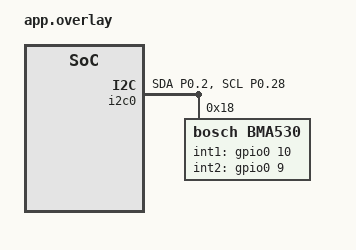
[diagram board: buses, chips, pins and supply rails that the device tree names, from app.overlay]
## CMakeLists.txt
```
cmake_minimum_required(VERSION 3.20.0)
find_package(Zephyr REQUIRED HINTS $ENV{ZEPHYR_BASE})
project(bma530_app)

add_subdirectory(drivers/sensor/bma530)
target_sources(app PRIVATE src/main.c)
```

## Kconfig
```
mainmenu "BMA530 App"

source "Kconfig.zephyr"

menu "Out-of-tree drivers"
rsource "drivers/sensor/bma530/Kconfig"
endmenu
```

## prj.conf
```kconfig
CONFIG_I2C=y
CONFIG_GPIO=y
CONFIG_SENSOR=y

CONFIG_SENSOR_BMA530=y
#CONFIG_SENSOR_BMA530_TRIGGER=y # Disable if not using interrupts

# Logging
CONFIG_LOG=y
CONFIG_LOG_DEFAULT_LEVEL=3
CONFIG_LOG_MODE_MINIMAL=n
CONFIG_LOG_MODE_IMMEDIATE=y
CONFIG_LOG_BACKEND_RTT_MODE_DROP=y
CONFIG_LOG_PRINTK=y
CONFIG_USE_SEGGER_RTT=y
CONFIG_LOG_BACKEND_RTT_MESSAGE_SIZE=256
CONFIG_SEGGER_RTT_BUFFER_SIZE_UP=4096
CONFIG_LOG_BACKEND_RTT=y
CONFIG_LOG_BACKEND_UART=n

# Increase stack if needed for logging
CONFIG_MAIN_STACK_SIZE=4096
```

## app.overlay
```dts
&pinctrl {
    i2c0_default: i2c0_default {
        group1 {
            psels = <NRF_PSEL(TWIM_SDA, 0, 2)>,   /* SDA P0.02 */
                    <NRF_PSEL(TWIM_SCL, 0, 28)>;  /* SCL P0.28 */
        };
    };
    i2c0_sleep: i2c0_sleep {
        group1 {
            psels = <NRF_PSEL(TWIM_SDA, 0, 2)>,
                    <NRF_PSEL(TWIM_SCL, 0, 28)>;
            low-power-enable;
        };
    };
};

&i2c0 {
    status = "okay";
    pinctrl-0 = <&i2c0_default>;
    pinctrl-1 = <&i2c0_sleep>;
    pinctrl-names = "default", "sleep";

    bma530@18 {
        status = "okay";
        compatible = "bosch,bma530";
        reg = <0x18>;
        label = "BMA530";

        /* Initial Config, odr and range */
        odr = <100>;
        range = <8>;

        /* INT1 = P0.10, INT2 = P0.09 */
        int1-gpios = <&gpio0 10 GPIO_ACTIVE_HIGH>;
        int2-gpios = <&gpio0  9 GPIO_ACTIVE_HIGH>;
    };
};
```

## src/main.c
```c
#include <zephyr/devicetree.h>
#include <zephyr/device.h>
#include <zephyr/drivers/sensor.h>
#include <zephyr/kernel.h>
#include <zephyr/logging/log.h>
LOG_MODULE_REGISTER(app, LOG_LEVEL_INF);

#if !DT_HAS_COMPAT_STATUS_OKAY(bosch_bma530)
#error "No bosch,bma530 instance marked okay in the devicetree."
#endif

void main(void)
{
    const struct device *acc = DEVICE_DT_GET_ANY(bosch_bma530);
    if (!device_is_ready(acc)) {
        LOG_ERR("BMA530 not ready");
        return;
    }

    while (1) {
        struct sensor_value x, y, z;
        if (sensor_sample_fetch(acc) == 0 &&
            sensor_channel_get(acc, SENSOR_CHAN_ACCEL_X, &x) == 0 &&
            sensor_channel_get(acc, SENSOR_CHAN_ACCEL_Y, &y) == 0 &&
            sensor_channel_get(acc, SENSOR_CHAN_ACCEL_Z, &z) == 0) {
            LOG_INF("RAW LSB: x=%d y=%d z=%d", x.val1, y.val1, z.val1);
        }
        k_sleep(K_MSEC(10));
    }
}
```
